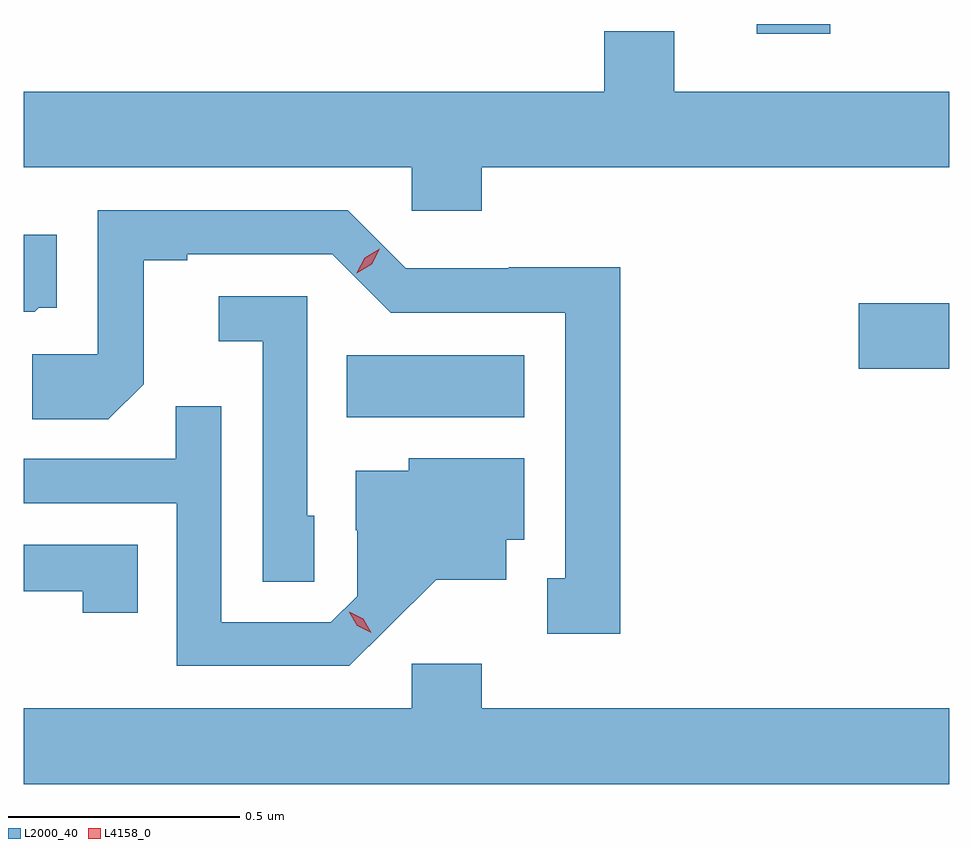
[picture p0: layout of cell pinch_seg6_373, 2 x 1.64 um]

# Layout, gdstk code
import gdstk
lib = gdstk.Library(unit=1e-6, precision=1e-09)
def R(c, l, rs):  # rectangles x0, y0, x1, y1
    for r in rs: c.add(gdstk.rectangle(r[:2], r[2:], *l))
def P(c, l, *ps):  # polygons
    for p in ps: c.add(gdstk.Polygon(p, *l))
L2000_40 = (2000, 40)
L4158_0 = (4158, 0)

pinch_seg6_373 = lib.new_cell('pinch_seg6_373')
R(pinch_seg6_373, L2000_40, [(665.95,949.46,666.334,949.594), (667.056,949.565,667.252,949.707), (666.836,950.289,666.995,950.31)])
P(pinch_seg6_373, L2000_40, [(666.242,950),(667.252,950),(667.252,950.164),(666.658,950.164),(666.658,950.294),(666.506,950.294),(666.506,950.164),(665.252,950.164),(665.252,950),(666.09,950),(666.09,949.907),(666.242,949.907)],
  [(666.541,949.784),(666.3,949.784),(666.3,949.782),(666.078,949.782),(665.952,949.908),(665.412,949.908),(665.412,949.596),(665.271,949.596),(665.271,949.456),(665.435,949.456),(665.511,949.532),(665.511,949.8),(665.605,949.8),(665.605,949.812),(665.919,949.812),(666.045,949.686),(666.422,949.686),(666.422,949.113),(666.383,949.113),(666.383,948.993),(666.541,948.993)],
  [(665.285,949.697),(665.323,949.697),(665.323,949.855),(665.252,949.855),(665.252,949.688),(665.276,949.688)],
  [(665.88,949.248),(665.865,949.248),(665.865,949.722),(665.673,949.722),(665.673,949.625),(665.769,949.625),(665.769,949.105),(665.88,949.105)],
  [(666.04,949.007),(666.143,949.109),(666.295,949.109),(666.295,949.196),(666.334,949.196),(666.334,949.372),(666.084,949.372),(666.084,949.345),(665.969,949.345),(665.969,949.216),(665.973,949.216),(665.973,949.074),(665.916,949.017),(665.679,949.017),(665.679,949.484),(665.581,949.484),(665.581,949.371),(665.252,949.371),(665.252,949.275),(665.583,949.275),(665.583,948.924),(665.956,948.924)],
  [(665.498,949.185),(665.252,949.185),(665.252,949.084),(665.38,949.084),(665.38,949.038),(665.498,949.038)],
  [(667.252,948.832),(666.242,948.832),(666.242,948.928),(666.09,948.928),(666.09,948.832),(665.252,948.832),(665.252,948.668),(667.252,948.668)])
P(pinch_seg6_373, L4158_0, [(665.972,949.772),(665.972,949.773),(665.989,949.805),(666.021,949.824),(666.021,949.824),(666.021,949.824),(666.004,949.791),(665.972,949.772)],
  [(666.003,948.995),(665.973,949.01),(665.956,949.039),(665.956,949.04),(665.956,949.04),(665.986,949.025),(666.003,948.995),(666.003,948.995)])

lib.write_gds('pinch_seg6_373.gds')
